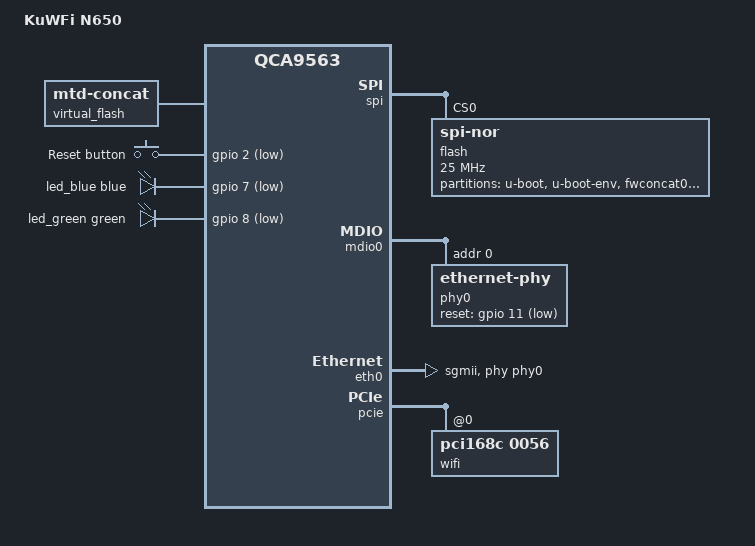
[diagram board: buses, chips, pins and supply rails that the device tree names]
// SPDX-License-Identifier: GPL-2.0-or-later OR MIT

#include "qca956x.dtsi"

#include <dt-bindings/gpio/gpio.h>
#include <dt-bindings/input/input.h>
#include <dt-bindings/leds/common.h>
#include <dt-bindings/mtd/partitions/uimage.h>

/ {
	model = "KuWFi N650";
	compatible = "kuwfi,n650", "qca,qca9563";

	aliases {
		label-mac-device = &eth0;
		led-boot = &led_green;
		led-running = &led_green;
		led-failsafe = &led_blue;
		led-upgrade = &led_blue;
	};

	virtual_flash {
		compatible = "mtd-concat";
		devices = <&fwconcat0 &fwconcat1>;

		partitions {
			compatible = "fixed-partitions";
			#address-cells = <1>;
			#size-cells = <1>;

			partition@0 {
				reg = <0x0 0x0>;
				label = "firmware";
				compatible = "openwrt,uimage", "denx,uimage";
				openwrt,ih-magic = <IH_MAGIC_OKLI>;
			};
		};
	};

	keys {
		compatible = "gpio-keys";

		reset {
			label = "Reset button";
			linux,code = <KEY_RESTART>;
			gpios = <&gpio 2 GPIO_ACTIVE_LOW>;
			debounce-interval = <60>;
		};
	};

	leds {
		compatible = "gpio-leds";

		led_blue: blue {
			function = LED_FUNCTION_DEBUG;
			color = <LED_COLOR_ID_BLUE>;
			gpios = <&gpio 7 GPIO_ACTIVE_LOW>;
		};

		led_green: green {
			function = LED_FUNCTION_POWER;
			color = <LED_COLOR_ID_GREEN>;
			gpios = <&gpio 8 GPIO_ACTIVE_LOW>;
		};
	};
};

&spi {
	status = "okay";

	flash@0 {
		compatible = "jedec,spi-nor";
		reg = <0>;
		spi-max-frequency = <25000000>;

		partitions {
			compatible = "fixed-partitions";
			#address-cells = <1>;
			#size-cells = <1>;

			partition@0 {
				label = "u-boot";
				reg = <0x000000 0x030000>;
				read-only;
			};

			partition@30000 {
				label = "u-boot-env";
				reg = <0x030000 0x010000>;
			};

			fwconcat0: partition@40000 {
				label = "fwconcat0";
				reg = <0x040000 0xd40000>;
			};

			partition@d80000 {
				label = "loader";
				reg = <0xd80000 0x10000>;
			};

			fwconcat1: partition@d90000 {
				label = "fwconcat1";
				reg = <0xd90000 0x160000>;
			};

			partition@ef0000 {
				label = "log";
				reg = <0xef0000 0x0f0000>;
				read-only;
			};

			partition@fe0000 {
				label = "nvram";
				reg = <0xfe0000 0x010000>;
				read-only;
			};

			partition@ff0000 {
				label = "art";
				reg = <0xff0000 0x10000>;
				read-only;

				nvmem-layout {
					compatible = "fixed-layout";
					#address-cells = <1>;
					#size-cells = <1>;

					macaddr_art_0: macaddr@0 {
						compatible = "mac-base";
						reg = <0x0 0x6>;
						#nvmem-cell-cells = <1>;
					};

					precal_art_5000: pre-calibration@5000 {
						reg = <0x5000 0x2f20>;
					};
				};
			};
		};
	};
};

&mdio0 {
	status = "okay";

	phy0: ethernet-phy@0 {
		reg = <0>;
		phy-mode = "sgmii";
		reset-gpios = <&gpio 11 GPIO_ACTIVE_LOW>;
		qca,mib-poll-interval = <500>;

		qca,ar8327-initvals = <
			0x04 0x00080080 /* PORT0 PAD MODE CTRL */
			0x7c 0x0000007e /* PORT0_STATUS */
		>;
	};
};

&eth0 {
	status = "okay";

	nvmem-cells = <&macaddr_art_0 0>;
	nvmem-cell-names = "mac-address";
	phy-handle = <&phy0>;
	phy-mode = "sgmii";
};

&pcie {
	status = "okay";

	wifi@0,0 {
		compatible = "pci168c,0056";
		reg = <0x0000 0 0 0 0>;
		nvmem-cells = <&precal_art_5000>, <&macaddr_art_0 1>;
		nvmem-cell-names = "pre-calibration", "mac-address";
	};
};
